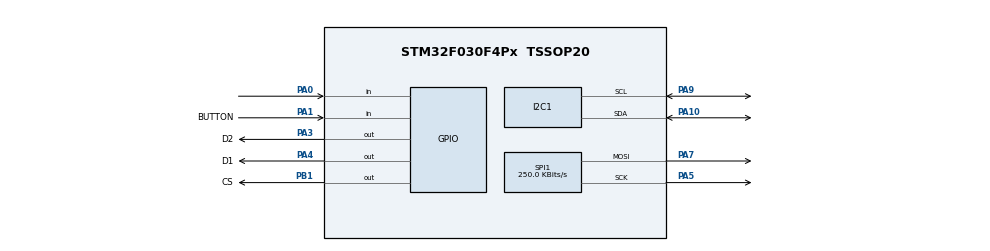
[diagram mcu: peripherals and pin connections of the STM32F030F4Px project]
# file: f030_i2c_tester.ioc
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Mcu.Family=STM32F0
Mcu.Name=STM32F030F4Px
Mcu.Package=TSSOP20
NVIC.TIM17_IRQn=true\:0\:0\:false\:false\:true\:true\:true
PA0.Signal=GPIO_Input
PA1.GPIO_Label=BUTTON
PA1.Signal=GPIO_Input
PA10.Mode=I2C
PA10.Signal=I2C1_SDA
PA13.Mode=Serial_Wire
PA13.Signal=SYS_SWDIO
PA14.Mode=Serial_Wire
PA14.Signal=SYS_SWCLK
PA3.GPIO_Label=D2
PA3.Signal=GPIO_Output
PA4.GPIO_Label=D1
PA4.Signal=GPIO_Output
PA5.Mode=TX_Only_Simplex_Unidirect_Master
PA5.Signal=SPI1_SCK
PA7.Mode=TX_Only_Simplex_Unidirect_Master
PA7.Signal=SPI1_MOSI
PA9.Mode=I2C
PA9.Signal=I2C1_SCL
PB1.GPIO_Label=CS
PB1.Signal=GPIO_Output
ProjectManager.HeapSize=0x200
ProjectManager.StackSize=0x400
ProjectManager.TargetToolchain=STM32CubeIDE
SPI1.BaudRatePrescaler=SPI_BAUDRATEPRESCALER_32
SPI1.CalculateBaudRate=250.0 KBits/s
SPI1.DataSize=SPI_DATASIZE_8BIT
SPI1.Direction=SPI_DIRECTION_2LINES
SPI1.Mode=SPI_MODE_MASTER
SPI1.VirtualType=VM_MASTER
VP_TIM17_VS_ClockSourceINT.Mode=Enable_Timer
board=custom

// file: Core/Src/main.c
/* USER CODE BEGIN Header */
/**
  ******************************************************************************
  * @file           : main.c
  * @brief          : Main program body
  ******************************************************************************
  * @attention
  *
  * Copyright (c) 2022 STMicroelectronics.
  * All rights reserved.
  *
  * This software is licensed under terms that can be found in the LICENSE file
  * in the root directory of this software component.
  * If no LICENSE file comes with this software, it is provided AS-IS.
  *
  ******************************************************************************
  */
/* USER CODE END Header */

#include "main.h"

#pragma clang diagnostic push
#pragma ide diagnostic ignored "EndlessLoop"
I2C_HandleTypeDef hi2c1;

SPI_HandleTypeDef hspi1;

TIM_HandleTypeDef htim17;

/* USER CODE BEGIN PV */
uint8_t count=0;
/* USER CODE END PV */

void SystemClock_Config(void);
static void MX_GPIO_Init(void);
static void MX_SPI1_Init(void);
static void MX_TIM17_Init(void);
static void MX_I2C1_Init(void);

int main(void)
{

  /* MCU Configuration--------------------------------------------------------*/

  /* Reset of all peripherals, Initializes the Flash interface and the Systick. */
  HAL_Init();

  /* Configure the system clock */
  SystemClock_Config();

  /* Initialize all configured peripherals */
  MX_GPIO_Init();
  MX_SPI1_Init();
  MX_TIM17_Init();
  MX_I2C1_Init();
  /* USER CODE BEGIN 2 */
  HAL_TIM_Base_Start_IT(&htim17);  // запускаем прерывания
  uint32_t next_step_1=0;
  uint16_t current_delay = 200, random_delay;
  uint8_t  mode =0;
  /* USER CODE END 2 */

  /* Infinite loop */
  /* USER CODE BEGIN WHILE */
  while (1)
  {

	 if (HAL_GetTick()>next_step_1){
		 if (mode){
         next_step_1=HAL_GetTick()+current_delay;
         count++;
         if (count>35) count = 1;
		 } else if (!HAL_GPIO_ReadPin(BUTTON_GPIO_Port, BUTTON_Pin)) mode=1;

         switch (mode) {
             case 1:
                 if (current_delay>10) current_delay*=.95;
                 else {
                     mode=2;
                     random_delay=HAL_GetTick();
                     while (random_delay>3000)
                         random_delay=random_delay/3000+random_delay%3000;
                     random_delay+=HAL_GetTick();

                 }
                 break;
             case 2:
                 if (HAL_GetTick()>random_delay && HAL_GPIO_ReadPin(BUTTON_GPIO_Port, BUTTON_Pin)) mode=3;
                 break;
             case 3:
                 if (current_delay<200) current_delay+=8;
                 else mode=0;
                 break;
         }

     }

    /* USER CODE END WHILE */

  }
}

void SystemClock_Config(void)
{
  RCC_OscInitTypeDef RCC_OscInitStruct = {0};
  RCC_ClkInitTypeDef RCC_ClkInitStruct = {0};
  RCC_PeriphCLKInitTypeDef PeriphClkInit = {0};

  /** Initializes the RCC Oscillators according to the specified parameters
  * in the RCC_OscInitTypeDef structure.
  */
  RCC_OscInitStruct.OscillatorType = RCC_OSCILLATORTYPE_HSI;
  RCC_OscInitStruct.HSIState = RCC_HSI_ON;
  RCC_OscInitStruct.HSICalibrationValue = RCC_HSICALIBRATION_DEFAULT;
  RCC_OscInitStruct.PLL.PLLState = RCC_PLL_NONE;
  if (HAL_RCC_OscConfig(&RCC_OscInitStruct) != HAL_OK)
  {
    Error_Handler();
  }
  /** Initializes the CPU, AHB and APB buses clocks
  */
  RCC_ClkInitStruct.ClockType = RCC_CLOCKTYPE_HCLK|RCC_CLOCKTYPE_SYSCLK
                              |RCC_CLOCKTYPE_PCLK1;
  RCC_ClkInitStruct.SYSCLKSource = RCC_SYSCLKSOURCE_HSI;
  RCC_ClkInitStruct.AHBCLKDivider = RCC_SYSCLK_DIV1;
  RCC_ClkInitStruct.APB1CLKDivider = RCC_HCLK_DIV1;

  if (HAL_RCC_ClockConfig(&RCC_ClkInitStruct, FLASH_LATENCY_0) != HAL_OK)
  {
    Error_Handler();
  }
  PeriphClkInit.PeriphClockSelection = RCC_PERIPHCLK_I2C1;
  PeriphClkInit.I2c1ClockSelection = RCC_I2C1CLKSOURCE_HSI;
  if (HAL_RCCEx_PeriphCLKConfig(&PeriphClkInit) != HAL_OK)
  {
    Error_Handler();
  }
}

static void MX_I2C1_Init(void)
{

  hi2c1.Instance = I2C1;
  hi2c1.Init.Timing = 0x2000090E;
  hi2c1.Init.OwnAddress1 = 0;
  hi2c1.Init.AddressingMode = I2C_ADDRESSINGMODE_7BIT;
  hi2c1.Init.DualAddressMode = I2C_DUALADDRESS_DISABLE;
  hi2c1.Init.OwnAddress2 = 0;
  hi2c1.Init.OwnAddress2Masks = I2C_OA2_NOMASK;
  hi2c1.Init.GeneralCallMode = I2C_GENERALCALL_DISABLE;
  hi2c1.Init.NoStretchMode = I2C_NOSTRETCH_DISABLE;
  if (HAL_I2C_Init(&hi2c1) != HAL_OK)
  {
    Error_Handler();
  }
  /** Configure Analogue filter
  */
  if (HAL_I2CEx_ConfigAnalogFilter(&hi2c1, I2C_ANALOGFILTER_ENABLE) != HAL_OK)
  {
    Error_Handler();
  }
  /** Configure Digital filter
  */
  if (HAL_I2CEx_ConfigDigitalFilter(&hi2c1, 0) != HAL_OK)
  {
    Error_Handler();
  }

}

static void MX_SPI1_Init(void)
{

  /* SPI1 parameter configuration*/
  hspi1.Instance = SPI1;
  hspi1.Init.Mode = SPI_MODE_MASTER;
  hspi1.Init.Direction = SPI_DIRECTION_2LINES;
  hspi1.Init.DataSize = SPI_DATASIZE_8BIT;
  hspi1.Init.CLKPolarity = SPI_POLARITY_LOW;
  hspi1.Init.CLKPhase = SPI_PHASE_1EDGE;
  hspi1.Init.NSS = SPI_NSS_SOFT;
  hspi1.Init.BaudRatePrescaler = SPI_BAUDRATEPRESCALER_32;
  hspi1.Init.FirstBit = SPI_FIRSTBIT_MSB;
  hspi1.Init.TIMode = SPI_TIMODE_DISABLE;
  hspi1.Init.CRCCalculation = SPI_CRCCALCULATION_DISABLE;
  hspi1.Init.CRCPolynomial = 7;
  hspi1.Init.CRCLength = SPI_CRC_LENGTH_DATASIZE;
  hspi1.Init.NSSPMode = SPI_NSS_PULSE_ENABLE;
  if (HAL_SPI_Init(&hspi1) != HAL_OK)
  {
    Error_Handler();
  }

}

static void MX_TIM17_Init(void)
{

  htim17.Instance = TIM17;
  htim17.Init.Prescaler = 0;
  htim17.Init.CounterMode = TIM_COUNTERMODE_UP;
  htim17.Init.Period = 65535;
  htim17.Init.ClockDivision = TIM_CLOCKDIVISION_DIV1;
  htim17.Init.RepetitionCounter = 0;
  htim17.Init.AutoReloadPreload = TIM_AUTORELOAD_PRELOAD_DISABLE;
  if (HAL_TIM_Base_Init(&htim17) != HAL_OK)
  {
    Error_Handler();
  }

}

static void MX_GPIO_Init(void)
{
  GPIO_InitTypeDef GPIO_InitStruct = {0};

  /* GPIO Ports Clock Enable */
  __HAL_RCC_GPIOA_CLK_ENABLE();
  __HAL_RCC_GPIOB_CLK_ENABLE();

  /*Configure GPIO pin Output Level */
  HAL_GPIO_WritePin(GPIOA, D2_Pin|D1_Pin, GPIO_PIN_RESET);

  /*Configure GPIO pin Output Level */
  HAL_GPIO_WritePin(CS_GPIO_Port, CS_Pin, GPIO_PIN_RESET);

  /*Configure GPIO pins : PA0 BUTTON_Pin */
  GPIO_InitStruct.Pin = GPIO_PIN_0|BUTTON_Pin;
  GPIO_InitStruct.Mode = GPIO_MODE_INPUT;
  GPIO_InitStruct.Pull = GPIO_NOPULL;
  HAL_GPIO_Init(GPIOA, &GPIO_InitStruct);

  /*Configure GPIO pins : D2_Pin D1_Pin */
  GPIO_InitStruct.Pin = D2_Pin|D1_Pin;
  GPIO_InitStruct.Mode = GPIO_MODE_OUTPUT_PP;
  GPIO_InitStruct.Pull = GPIO_NOPULL;
  GPIO_InitStruct.Speed = GPIO_SPEED_FREQ_LOW;
  HAL_GPIO_Init(GPIOA, &GPIO_InitStruct);

  /*Configure GPIO pin : CS_Pin */
  GPIO_InitStruct.Pin = CS_Pin;
  GPIO_InitStruct.Mode = GPIO_MODE_OUTPUT_PP;
  GPIO_InitStruct.Pull = GPIO_NOPULL;
  GPIO_InitStruct.Speed = GPIO_SPEED_FREQ_LOW;
  HAL_GPIO_Init(CS_GPIO_Port, &GPIO_InitStruct);

}

void Error_Handler(void)
{
  __disable_irq();
  while (1)
  {
  }
}

#pragma clang diagnostic pop
